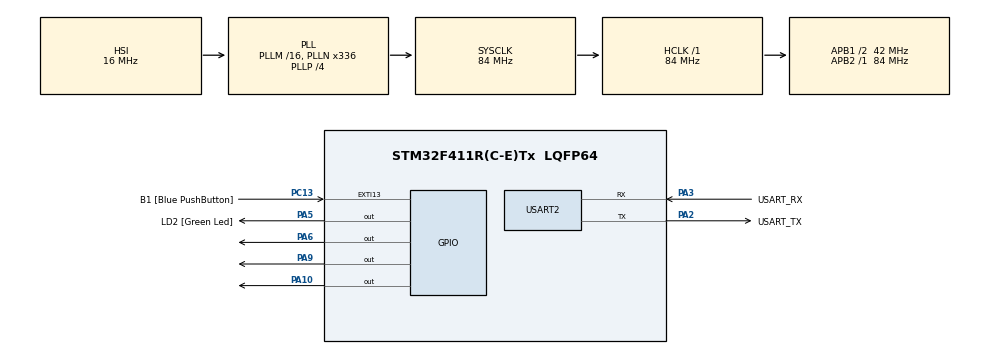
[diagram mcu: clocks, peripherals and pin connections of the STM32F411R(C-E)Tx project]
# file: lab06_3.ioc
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FREERTOS.Mutexes01=myMutex01,Dynamic,NULL
FREERTOS.Tasks01=defaultTask,0,128,StartDefaultTask,Default,NULL,Dynamic,NULL,NULL;myTask02,-2,128,StartTask02,Default,NULL,Dynamic,NULL,NULL;myTask03,-2,128,StartTask03,Default,NULL,Dynamic,NULL,NULL;myTask04,-2,128,StartTask04,Default,NULL,Dynamic,NULL,NULL;myTask05,-2,128,uart1,Default,NULL,Dynamic,NULL,NULL;myTask06,-2,128,uart2,Default,NULL,Dynamic,NULL,NULL
Mcu.Family=STM32F4
Mcu.Name=STM32F411R(C-E)Tx
Mcu.Package=LQFP64
NVIC.PriorityGroup=NVIC_PRIORITYGROUP_4
PA10.Signal=GPIO_Output
PA13.GPIO_Label=TMS
PA13.Mode=Serial_Wire
PA13.Signal=SYS_JTMS-SWDIO
PA14.GPIO_Label=TCK
PA14.Mode=Serial_Wire
PA14.Signal=SYS_JTCK-SWCLK
PA2.GPIO_Label=USART_TX
PA2.Mode=Asynchronous
PA2.Signal=USART2_TX
PA3.GPIO_Label=USART_RX
PA3.Mode=Asynchronous
PA3.Signal=USART2_RX
PA5.GPIO_Label=LD2 [Green Led]
PA5.Signal=GPIO_Output
PA6.Signal=GPIO_Output
PA9.Signal=GPIO_Output
PB3.GPIO_Label=SWO
PB3.Signal=SYS_JTDO-SWO
PC13-ANTI_TAMP.GPIO_Label=B1 [Blue PushButton]
PC13-ANTI_TAMP.GPIO_ModeDefaultEXTI=GPIO_MODE_IT_FALLING
PC13-ANTI_TAMP.Signal=GPXTI13
PC14-OSC32_IN.Mode=LSE-External-Oscillator
PC14-OSC32_IN.Signal=RCC_OSC32_IN
PC15-OSC32_OUT.Mode=LSE-External-Oscillator
PC15-OSC32_OUT.Signal=RCC_OSC32_OUT
PH0\ -\ OSC_IN.Mode=HSE-External-Clock-Source
PH0\ -\ OSC_IN.Signal=RCC_OSC_IN
PH1\ -\ OSC_OUT.Mode=HSE-External-Clock-Source
PH1\ -\ OSC_OUT.Signal=RCC_OSC_OUT
ProjectManager.HeapSize=0x200
ProjectManager.StackSize=0x400
ProjectManager.TargetToolchain=STM32CubeIDE
RCC.48MHZClocksFreq_Value=84000000
RCC.AHBFreq_Value=84000000
RCC.APB1CLKDivider=RCC_HCLK_DIV2
RCC.APB1Freq_Value=42000000
RCC.APB1TimFreq_Value=84000000
RCC.APB2Freq_Value=84000000
RCC.APB2TimFreq_Value=84000000
RCC.CortexFreq_Value=84000000
RCC.FLatency-AdvancedSettings=FLASH_LATENCY_2
RCC.HCLKFreq_Value=84000000
RCC.HSE_VALUE=8000000
RCC.HSI_VALUE=16000000
RCC.PLLN=336
RCC.PLLP=RCC_PLLP_DIV4
RCC.SYSCLKFreq_VALUE=84000000
RCC.SYSCLKSource=RCC_SYSCLKSOURCE_PLLCLK
RCC.VCOOutputFreq_Value=336000000
USART2.VirtualMode=VM_ASYNC
VP_FREERTOS_VS_CMSIS_V1.Mode=CMSIS_V1
board=NUCLEO-F411RE

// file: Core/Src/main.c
/* USER CODE BEGIN Header */
/**
  ******************************************************************************
  * @file           : main.c
  * @brief          : Main program body
  ******************************************************************************
  * @attention
  *
  * Copyright (c) 2024 STMicroelectronics.
  * All rights reserved.
  *
  * This software is licensed under terms that can be found in the LICENSE file
  * in the root directory of this software component.
  * If no LICENSE file comes with this software, it is provided AS-IS.
  *
  ******************************************************************************
  */
/* USER CODE END Header */
#include "main.h"
#include "cmsis_os.h"

/* USER CODE BEGIN Includes */
	int idx = 0;
	char buffer[32];
/* USER CODE END Includes */

UART_HandleTypeDef huart2;

osThreadId defaultTaskHandle;
osThreadId myTask02Handle;
osThreadId myTask03Handle;
osThreadId myTask04Handle;
osThreadId myTask05Handle;
osThreadId myTask06Handle;
osMutexId myMutex01Handle;

void SystemClock_Config(void);
static void MX_GPIO_Init(void);
static void MX_USART2_UART_Init(void);
void StartDefaultTask(void const * argument);
void StartTask02(void const * argument);
void StartTask03(void const * argument);
void StartTask04(void const * argument);
void uart1(void const * argument);
void uart2(void const * argument);

int main(void)
{

  /* MCU Configuration--------------------------------------------------------*/

  /* Reset of all peripherals, Initializes the Flash interface and the Systick. */
  HAL_Init();

  /* Configure the system clock */
  SystemClock_Config();

  /* Initialize all configured peripherals */
  MX_GPIO_Init();
  MX_USART2_UART_Init();

  /* Create the mutex(es) */
  /* definition and creation of myMutex01 */
  osMutexDef(myMutex01);
  myMutex01Handle = osMutexCreate(osMutex(myMutex01));

  /* Create the thread(s) */
  /* definition and creation of defaultTask */
  osThreadDef(defaultTask, StartDefaultTask, osPriorityNormal, 0, 128);
  defaultTaskHandle = osThreadCreate(osThread(defaultTask), NULL);

  /* definition and creation of myTask02 */
  osThreadDef(myTask02, StartTask02, osPriorityLow, 0, 128);
  myTask02Handle = osThreadCreate(osThread(myTask02), NULL);

  /* definition and creation of myTask03 */
  osThreadDef(myTask03, StartTask03, osPriorityLow, 0, 128);
  myTask03Handle = osThreadCreate(osThread(myTask03), NULL);

  /* definition and creation of myTask04 */
  osThreadDef(myTask04, StartTask04, osPriorityLow, 0, 128);
  myTask04Handle = osThreadCreate(osThread(myTask04), NULL);

  /* definition and creation of myTask05 */
  osThreadDef(myTask05, uart1, osPriorityLow, 0, 128);
  myTask05Handle = osThreadCreate(osThread(myTask05), NULL);

  /* definition and creation of myTask06 */
  osThreadDef(myTask06, uart2, osPriorityLow, 0, 128);
  myTask06Handle = osThreadCreate(osThread(myTask06), NULL);

  /* Start scheduler */
  osKernelStart();

  /* We should never get here as control is now taken by the scheduler */
  /* Infinite loop */
  while (1)
  {

  }
}

void SystemClock_Config(void)
{
  RCC_OscInitTypeDef RCC_OscInitStruct = {0};
  RCC_ClkInitTypeDef RCC_ClkInitStruct = {0};

  /** Configure the main internal regulator output voltage
  */
  __HAL_RCC_PWR_CLK_ENABLE();
  __HAL_PWR_VOLTAGESCALING_CONFIG(PWR_REGULATOR_VOLTAGE_SCALE1);

  /** Initializes the RCC Oscillators according to the specified parameters
  * in the RCC_OscInitTypeDef structure.
  */
  RCC_OscInitStruct.OscillatorType = RCC_OSCILLATORTYPE_HSI;
  RCC_OscInitStruct.HSIState = RCC_HSI_ON;
  RCC_OscInitStruct.HSICalibrationValue = RCC_HSICALIBRATION_DEFAULT;
  RCC_OscInitStruct.PLL.PLLState = RCC_PLL_ON;
  RCC_OscInitStruct.PLL.PLLSource = RCC_PLLSOURCE_HSI;
  RCC_OscInitStruct.PLL.PLLM = 16;
  RCC_OscInitStruct.PLL.PLLN = 336;
  RCC_OscInitStruct.PLL.PLLP = RCC_PLLP_DIV4;
  RCC_OscInitStruct.PLL.PLLQ = 4;
  if (HAL_RCC_OscConfig(&RCC_OscInitStruct) != HAL_OK)
  {
    Error_Handler();
  }

  /** Initializes the CPU, AHB and APB buses clocks
  */
  RCC_ClkInitStruct.ClockType = RCC_CLOCKTYPE_HCLK|RCC_CLOCKTYPE_SYSCLK
                              |RCC_CLOCKTYPE_PCLK1|RCC_CLOCKTYPE_PCLK2;
  RCC_ClkInitStruct.SYSCLKSource = RCC_SYSCLKSOURCE_PLLCLK;
  RCC_ClkInitStruct.AHBCLKDivider = RCC_SYSCLK_DIV1;
  RCC_ClkInitStruct.APB1CLKDivider = RCC_HCLK_DIV2;
  RCC_ClkInitStruct.APB2CLKDivider = RCC_HCLK_DIV1;

  if (HAL_RCC_ClockConfig(&RCC_ClkInitStruct, FLASH_LATENCY_2) != HAL_OK)
  {
    Error_Handler();
  }
}

static void MX_USART2_UART_Init(void)
{

  huart2.Instance = USART2;
  huart2.Init.BaudRate = 115200;
  huart2.Init.WordLength = UART_WORDLENGTH_8B;
  huart2.Init.StopBits = UART_STOPBITS_1;
  huart2.Init.Parity = UART_PARITY_NONE;
  huart2.Init.Mode = UART_MODE_TX_RX;
  huart2.Init.HwFlowCtl = UART_HWCONTROL_NONE;
  huart2.Init.OverSampling = UART_OVERSAMPLING_16;
  if (HAL_UART_Init(&huart2) != HAL_OK)
  {
    Error_Handler();
  }

}

static void MX_GPIO_Init(void)
{
  GPIO_InitTypeDef GPIO_InitStruct = {0};

  /* GPIO Ports Clock Enable */
  __HAL_RCC_GPIOC_CLK_ENABLE();
  __HAL_RCC_GPIOH_CLK_ENABLE();
  __HAL_RCC_GPIOA_CLK_ENABLE();
  __HAL_RCC_GPIOB_CLK_ENABLE();

  /*Configure GPIO pin Output Level */
  HAL_GPIO_WritePin(GPIOA, LD2_Pin|GPIO_PIN_6|GPIO_PIN_9|GPIO_PIN_10, GPIO_PIN_RESET);

  /*Configure GPIO pin : B1_Pin */
  GPIO_InitStruct.Pin = B1_Pin;
  GPIO_InitStruct.Mode = GPIO_MODE_IT_FALLING;
  GPIO_InitStruct.Pull = GPIO_NOPULL;
  HAL_GPIO_Init(B1_GPIO_Port, &GPIO_InitStruct);

  /*Configure GPIO pins : LD2_Pin PA6 PA9 PA10 */
  GPIO_InitStruct.Pin = LD2_Pin|GPIO_PIN_6|GPIO_PIN_9|GPIO_PIN_10;
  GPIO_InitStruct.Mode = GPIO_MODE_OUTPUT_PP;
  GPIO_InitStruct.Pull = GPIO_NOPULL;
  GPIO_InitStruct.Speed = GPIO_SPEED_FREQ_LOW;
  HAL_GPIO_Init(GPIOA, &GPIO_InitStruct);

}

void StartDefaultTask(void const * argument)
{
  /* USER CODE BEGIN 5 */
  /* Infinite loop */
  for(;;)
  {
	HAL_GPIO_TogglePin(GPIOA, GPIO_PIN_6);
    osDelay(50);
  }
  /* USER CODE END 5 */
}

void StartTask02(void const * argument)
{
  /* USER CODE BEGIN StartTask02 */
  /* Infinite loop */
  for(;;)
  {
	HAL_GPIO_TogglePin(GPIOA, GPIO_PIN_5);
    osDelay(18);
  }
  /* USER CODE END StartTask02 */
}

void StartTask03(void const * argument)
{
  /* USER CODE BEGIN StartTask03 */
  /* Infinite loop */
  for(;;)
  {
	HAL_GPIO_TogglePin(GPIOA, GPIO_PIN_9);
    osDelay(128);
  }
  /* USER CODE END StartTask03 */
}

void StartTask04(void const * argument)
{
  /* USER CODE BEGIN StartTask04 */
  /* Infinite loop */
  for(;;)
  {
	HAL_GPIO_TogglePin(GPIOA, GPIO_PIN_10);
    osDelay(64);
  }
  /* USER CODE END StartTask04 */
}

void uart1(void const * argument)
{
  /* USER CODE BEGIN uart1 */
  /* Infinite loop */
	int threadID = 0; // threadID is 0 for one thread and 1 for another
	while(1) {
		sprintf(buffer, "TID: %d %d\r\n", threadID, idx);
		idx ++;
		osMutexWait(myMutex01Handle, osWaitForever);
		HAL_UART_Transmit(&huart2, buffer, strlen(buffer), 1000);
		osMutexRelease(myMutex01Handle);
	}
  /* USER CODE END uart1 */
}

void uart2(void const * argument)
{
  /* USER CODE BEGIN uart2 */
  /* Infinite loop */
	int threadID = 1; // threadID is 0 for one thread and 1 for another
		while(1) {
			sprintf(buffer, "TID: %d %d\r\n", threadID, idx);
			idx ++;
			osMutexWait(myMutex01Handle, osWaitForever);
			HAL_UART_Transmit(&huart2, buffer, strlen(buffer), 1000);
			osMutexRelease(myMutex01Handle);
		}
  /* USER CODE END uart2 */
}

void Error_Handler(void)
{
  __disable_irq();
  while (1)
  {
  }
}
